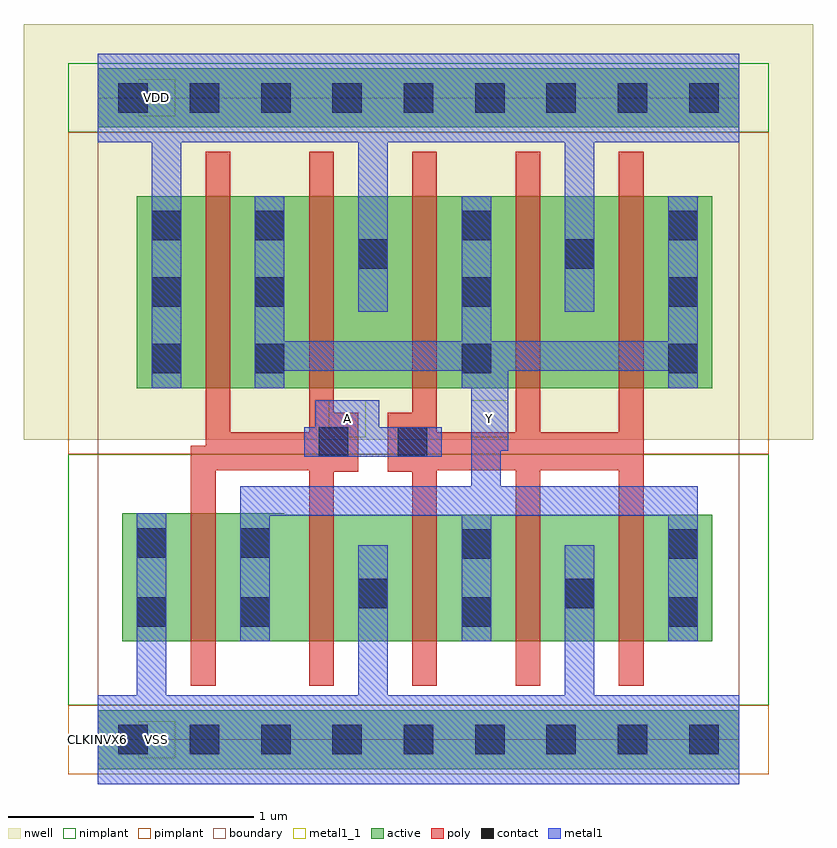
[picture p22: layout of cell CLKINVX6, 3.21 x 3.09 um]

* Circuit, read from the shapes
.subckt CLKINVX6 A VDD VSS Y
M1 Y A VSS VSS nfet w=0.52u l=0.1u
M2 VSS A Y VSS nfet w=0.515u l=0.1u m=4
M3 Y A VDD VDD pfet w=0.78u l=0.1u m=5
.ends

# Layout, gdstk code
import gdstk
lib = gdstk.Library(unit=1e-6, precision=5e-10)
def R(c, l, rs):  # rectangles x0, y0, x1, y1
    for r in rs: c.add(gdstk.rectangle(r[:2], r[2:], *l))
def A(c, l, x, y, w, h, nx, ny, dx, dy):  # array of equal rectangles
    R(c, l, [(x+i*dx, y+j*dy, x+i*dx+w, y+j*dy+h) for i in range(nx) for j in range(ny)])
active = (1, 0)
nwell = (2, 0)
poly = (3, 0)
nimplant = (4, 0)
pimplant = (5, 0)
contact = (6, 0)
metal1 = (7, 0)
metal1_1 = (7, 1)
boundary = (62, 0)

clkinvx6 = lib.new_cell('CLKINVX6')
R(clkinvx6, active, [(0,-0.12,2.61,0.12), (0.1,0.4,2.5,0.915), (0.1,0.915,0.76,0.92), (0.16,1.43,2.5,2.21), (0,2.49,2.61,2.73)])
R(clkinvx6, nwell, [(-0.3,1.22,2.91,2.91)])
R(clkinvx6, poly, [(0.38,0.22,0.48,1.095), (0.86,0.22,0.96,1.09), (1.28,0.22,1.38,1.09), (1.7,0.22,1.8,1.095), (2.12,0.22,2.22,1.095), (0.86,1.09,1.06,1.095), (1.18,1.09,1.38,1.095), (0.38,1.095,1.06,1.195), (1.18,1.095,2.22,1.25), (0.44,1.195,1.06,1.25), (0.44,1.25,0.54,2.39), (0.86,1.25,1.06,1.33), (1.18,1.25,1.38,1.33), (1.7,1.25,1.8,2.39), (2.12,1.25,2.22,2.39), (0.86,1.33,0.96,2.39), (1.28,1.33,1.38,2.39)])
R(clkinvx6, nimplant, [(-0.12,0.14,2.73,1.16), (-0.12,2.47,2.73,2.75)])
R(clkinvx6, pimplant, [(-0.12,-0.14,2.73,0.14), (-0.12,1.16,2.73,2.47)])
A(clkinvx6, contact, 0.085, -0.06, 0.12, 0.12, 9, 2, 0.29, 2.61)
A(clkinvx6, contact, 0.22, 1.49, 0.12, 0.12, 1, 3, 0, 0.27)
A(clkinvx6, contact, 0.64, 1.49, 0.12, 0.12, 3, 3, 0.84, 0.27)
R(clkinvx6, contact, [(0.16,0.46,0.28,0.58), (0.58,0.46,0.7,0.58), (1.48,0.46,1.6,0.58), (2.32,0.46,2.44,0.58), (1.06,0.535,1.18,0.655), (1.9,0.535,2.02,0.655), (1.48,0.735,1.6,0.855), (2.32,0.735,2.44,0.855), (0.16,0.74,0.28,0.86), (0.58,0.74,0.7,0.86), (0.9,1.15,1.02,1.27), (1.22,1.15,1.34,1.27), (1.06,1.915,1.18,2.035), (1.9,1.915,2.02,2.035)])
A(clkinvx6, metal1, 0.64, 1.62, 0.12, 0.59, 3, 1, 0.84, 0)
R(clkinvx6, metal1, [(0,-0.18,2.61,0.18), (0.16,0.18,0.28,0.92), (1.06,0.18,1.18,0.79), (1.9,0.18,2.02,0.79), (0.58,0.4,0.7,0.91), (1.48,0.4,1.6,0.91), (2.32,0.4,2.44,0.91), (0.58,0.91,2.44,1.03), (1.52,1.03,1.64,1.175), (0.84,1.15,1.4,1.27), (1.52,1.175,1.67,1.43), (0.885,1.27,1.145,1.38), (0.22,1.43,0.34,2.43), (0.64,1.43,0.76,1.5), (1.48,1.43,1.67,1.5), (2.32,1.43,2.44,1.5), (0.64,1.5,2.44,1.62), (1.06,1.74,1.18,2.43), (1.9,1.74,2.02,2.43), (0,2.43,2.61,2.79)])
R(clkinvx6, metal1_1, [(0.165,-0.075,0.315,0.075), (0.94,1.23,1.09,1.38), (1.52,1.23,1.67,1.38), (0.165,2.535,0.315,2.685)])
R(clkinvx6, boundary, [(0,0,2.61,2.61)])
clkinvx6.add(gdstk.Label('CLKINVX6', (0,0), layer=63, texttype=0))
clkinvx6.add(gdstk.Label('VSS', (0.24,0), layer=7, texttype=3))
clkinvx6.add(gdstk.Label('VDD', (0.24,2.61), layer=7, texttype=3))
clkinvx6.add(gdstk.Label('A', (1.015,1.305), layer=7, texttype=3))
clkinvx6.add(gdstk.Label('Y', (1.595,1.305), layer=7, texttype=3))

lib.write_gds('CLKINVX6.gds')
